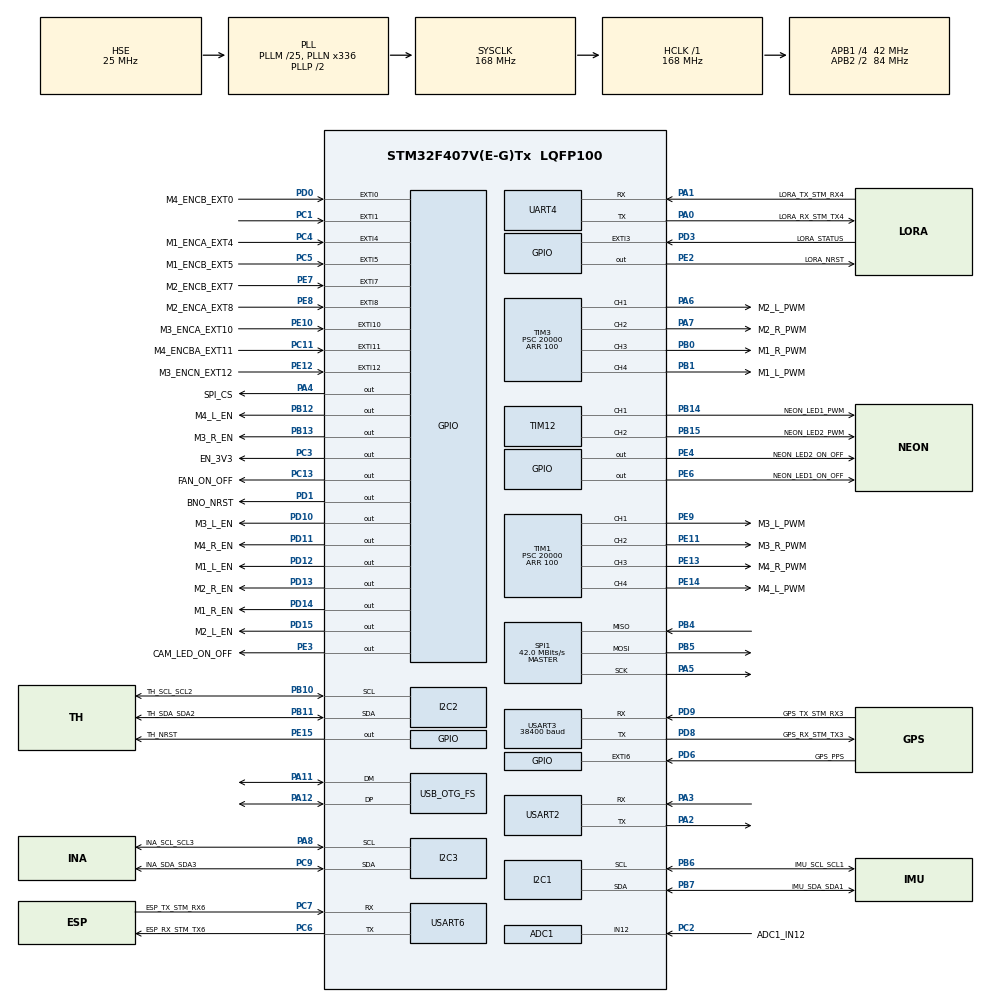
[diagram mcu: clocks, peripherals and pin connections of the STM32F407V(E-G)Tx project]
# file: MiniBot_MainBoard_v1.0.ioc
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ADC1.Channel-2\#ChannelRegularConversion=ADC_CHANNEL_12
ADC1.NbrOfConversionFlag=1
ADC1.Rank-2\#ChannelRegularConversion=1
ADC1.SamplingTime-2\#ChannelRegularConversion=ADC_SAMPLETIME_3CYCLES
ADC1.master=1
Dma.Request0=USART3_RX
Dma.USART3_RX.0.Direction=DMA_PERIPH_TO_MEMORY
Dma.USART3_RX.0.FIFOMode=DMA_FIFOMODE_DISABLE
Dma.USART3_RX.0.Instance=DMA1_Stream1
Dma.USART3_RX.0.MemDataAlignment=DMA_MDATAALIGN_BYTE
Dma.USART3_RX.0.MemInc=DMA_MINC_ENABLE
Dma.USART3_RX.0.Mode=DMA_NORMAL
Dma.USART3_RX.0.PeriphDataAlignment=DMA_PDATAALIGN_BYTE
Dma.USART3_RX.0.PeriphInc=DMA_PINC_DISABLE
Dma.USART3_RX.0.Priority=DMA_PRIORITY_LOW
Mcu.Family=STM32F4
Mcu.Name=STM32F407V(E-G)Tx
Mcu.Package=LQFP100
NVIC.DMA1_Stream1_IRQn=true\:0\:0\:false\:false\:true\:false\:true\:true
NVIC.EXTI0_IRQn=true\:0\:0\:false\:false\:true\:true\:true\:true
NVIC.EXTI15_10_IRQn=true\:0\:0\:false\:false\:true\:true\:true\:true
NVIC.EXTI3_IRQn=true\:0\:0\:false\:false\:true\:true\:true\:true
NVIC.EXTI4_IRQn=true\:0\:0\:false\:false\:true\:true\:true\:true
NVIC.EXTI9_5_IRQn=true\:0\:0\:false\:false\:true\:true\:true\:true
NVIC.OTG_FS_IRQn=true\:0\:0\:false\:false\:true\:false\:true\:true
NVIC.PriorityGroup=NVIC_PRIORITYGROUP_4
NVIC.TIM1_BRK_TIM9_IRQn=true\:0\:0\:false\:false\:true\:true\:true\:true
NVIC.TIM1_CC_IRQn=true\:0\:0\:false\:false\:true\:true\:true\:true
NVIC.TIM1_TRG_COM_TIM11_IRQn=true\:0\:0\:false\:false\:true\:true\:true\:true
NVIC.TIM1_UP_TIM10_IRQn=true\:0\:0\:false\:false\:true\:true\:true\:true
NVIC.TIM3_IRQn=true\:0\:0\:false\:false\:true\:true\:true\:true
NVIC.USART2_IRQn=true\:0\:0\:false\:false\:true\:true\:true\:true
NVIC.USART3_IRQn=true\:0\:0\:false\:false\:true\:true\:true\:true
PA0-WKUP.GPIO_Label=LORA_RX_STM_TX4
PA0-WKUP.Mode=Asynchronous
PA0-WKUP.Signal=UART4_TX
PA1.GPIO_Label=LORA_TX_STM_RX4
PA1.Mode=Asynchronous
PA1.Signal=UART4_RX
PA11.Mode=Device_Only
PA11.Signal=USB_OTG_FS_DM
PA12.Mode=Device_Only
PA12.Signal=USB_OTG_FS_DP
PA13.Mode=Serial_Wire
PA13.Signal=SYS_JTMS-SWDIO
PA14.Mode=Serial_Wire
PA14.Signal=SYS_JTCK-SWCLK
PA2.Mode=Asynchronous
PA2.Signal=USART2_TX
PA3.Mode=Asynchronous
PA3.Signal=USART2_RX
PA4.GPIO_Label=SPI_CS
PA4.Signal=GPIO_Output
PA5.Mode=Full_Duplex_Master
PA5.Signal=SPI1_SCK
PA6.GPIO_Label=M2_L_PWM
PA6.Signal=S_TIM3_CH1
PA7.GPIO_Label=M2_R_PWM
PA7.Signal=S_TIM3_CH2
PA8.GPIO_Label=INA_SCL_SCL3
PA8.Mode=I2C
PA8.Signal=I2C3_SCL
PB0.GPIO_Label=M1_R_PWM
PB0.Signal=S_TIM3_CH3
PB1.GPIO_Label=M1_L_PWM
PB1.Signal=S_TIM3_CH4
PB10.GPIO_Label=TH_SCL_SCL2
PB10.Mode=I2C
PB10.Signal=I2C2_SCL
PB11.GPIO_Label=TH_SDA_SDA2
PB11.Mode=I2C
PB11.Signal=I2C2_SDA
PB12.GPIO_Label=M4_L_EN
PB12.Signal=GPIO_Output
PB13.GPIO_Label=M3_R_EN
PB13.Signal=GPIO_Output
PB14.GPIO_Label=NEON_LED1_PWM
PB14.Signal=S_TIM12_CH1
PB15.GPIO_Label=NEON_LED2_PWM
PB15.Signal=S_TIM12_CH2
PB3.Signal=SYS_JTDO-SWO
PB4.Mode=Full_Duplex_Master
PB4.Signal=SPI1_MISO
PB5.Mode=Full_Duplex_Master
PB5.Signal=SPI1_MOSI
PB6.GPIO_Label=IMU_SCL_SCL1
PB6.Mode=I2C
PB6.Signal=I2C1_SCL
PB7.GPIO_Label=IMU_SDA_SDA1
PB7.Mode=I2C
PB7.Signal=I2C1_SDA
PC1.Signal=GPXTI1
PC11.GPIO_Label=M4_ENCBA_EXT11
PC11.GPIO_PuPd=GPIO_PULLDOWN
PC11.Signal=GPXTI11
PC13-ANTI_TAMP.GPIO_Label=FAN_ON_OFF
PC13-ANTI_TAMP.Signal=GPIO_Output
PC14-OSC32_IN.Mode=LSE-External-Oscillator
PC14-OSC32_IN.Signal=RCC_OSC32_IN
PC15-OSC32_OUT.Mode=LSE-External-Oscillator
PC15-OSC32_OUT.Signal=RCC_OSC32_OUT
PC2.GPIO_Label=ADC1_IN12
PC2.Signal=ADCx_IN12
PC3.GPIO_Label=EN_3V3
PC3.Signal=GPIO_Output
PC4.GPIO_Label=M1_ENCA_EXT4
PC4.GPIO_PuPd=GPIO_PULLDOWN
PC4.Signal=GPXTI4
PC5.GPIO_Label=M1_ENCB_EXT5
PC5.GPIO_PuPd=GPIO_PULLDOWN
PC5.Signal=GPXTI5
PC6.GPIO_Label=ESP_RX_STM_TX6
PC6.Mode=Asynchronous
PC6.Signal=USART6_TX
PC7.GPIO_Label=ESP_TX_STM_RX6
PC7.Mode=Asynchronous
PC7.Signal=USART6_RX
PC9.GPIO_Label=INA_SDA_SDA3
PC9.Mode=I2C
PC9.Signal=I2C3_SDA
PD0.GPIO_Label=M4_ENCB_EXT0
PD0.GPIO_PuPd=GPIO_PULLDOWN
PD0.Signal=GPXTI0
PD1.GPIO_Label=BNO_NRST
PD1.Signal=GPIO_Output
PD10.GPIO_Label=M3_L_EN
PD10.Signal=GPIO_Output
PD11.GPIO_Label=M4_R_EN
PD11.Signal=GPIO_Output
PD12.GPIO_Label=M1_L_EN
PD12.Signal=GPIO_Output
PD13.GPIO_Label=M2_R_EN
PD13.Signal=GPIO_Output
PD14.GPIO_Label=M1_R_EN
PD14.Signal=GPIO_Output
PD15.GPIO_Label=M2_L_EN
PD15.Signal=GPIO_Output
PD3.GPIO_Label=LORA_STATUS
PD3.Signal=GPXTI3
PD6.GPIO_Label=GPS_PPS
PD6.Signal=GPXTI6
PD8.GPIO_Label=GPS_RX_STM_TX3
PD8.Mode=Asynchronous
PD8.Signal=USART3_TX
PD9.GPIO_Label=GPS_TX_STM_RX3
PD9.Mode=Asynchronous
PD9.Signal=USART3_RX
PE10.GPIO_Label=M3_ENCA_EXT10
PE10.GPIO_PuPd=GPIO_PULLDOWN
PE10.Signal=GPXTI10
PE11.GPIO_Label=M3_R_PWM
PE11.Signal=S_TIM1_CH2
PE12.GPIO_Label=M3_ENCN_EXT12
PE12.GPIO_PuPd=GPIO_PULLDOWN
PE12.Signal=GPXTI12
PE13.GPIO_Label=M4_R_PWM
PE13.Signal=S_TIM1_CH3
PE14.GPIO_Label=M4_L_PWM
PE14.Signal=S_TIM1_CH4
PE15.GPIO_Label=TH_NRST
PE15.Signal=GPIO_Output
PE2.GPIO_Label=LORA_NRST
PE2.Signal=GPIO_Output
PE3.GPIO_Label=CAM_LED_ON_OFF
PE3.Signal=GPIO_Output
PE4.GPIO_Label=NEON_LED2_ON_OFF
PE4.Signal=GPIO_Output
PE6.GPIO_Label=NEON_LED1_ON_OFF
PE6.Signal=GPIO_Output
PE7.GPIO_Label=M2_ENCB_EXT7
PE7.GPIO_PuPd=GPIO_PULLDOWN
PE7.Signal=GPXTI7
PE8.GPIO_Label=M2_ENCA_EXT8
PE8.GPIO_PuPd=GPIO_PULLDOWN
PE8.Signal=GPXTI8
PE9.GPIO_Label=M3_L_PWM
PE9.Signal=S_TIM1_CH1
PH0-OSC_IN.Mode=HSE-External-Oscillator
PH0-OSC_IN.Signal=RCC_OSC_IN
PH1-OSC_OUT.Mode=HSE-External-Oscillator
PH1-OSC_OUT.Signal=RCC_OSC_OUT
ProjectManager.HeapSize=0x200
ProjectManager.StackSize=0x400
ProjectManager.TargetToolchain=STM32CubeIDE
RCC.48MHZClocksFreq_Value=48000000
RCC.AHBFreq_Value=168000000
RCC.APB1CLKDivider=RCC_HCLK_DIV4
RCC.APB1Freq_Value=42000000
RCC.APB1TimFreq_Value=84000000
RCC.APB2CLKDivider=RCC_HCLK_DIV2
RCC.APB2Freq_Value=84000000
RCC.APB2TimFreq_Value=168000000
RCC.CortexFreq_Value=168000000
RCC.HCLKFreq_Value=168000000
RCC.HSE_VALUE=25000000
RCC.HSI_VALUE=16000000
RCC.PLLM=25
RCC.PLLN=336
RCC.PLLQ=7
RCC.SYSCLKFreq_VALUE=168000000
RCC.SYSCLKSource=RCC_SYSCLKSOURCE_PLLCLK
RCC.VCOOutputFreq_Value=336000000
SH.ADCx_IN12.0=ADC1_IN12,IN12
SH.S_TIM12_CH1.0=TIM12_CH1,PWM Generation1 CH1
SH.S_TIM12_CH2.0=TIM12_CH2,PWM Generation2 CH2
SH.S_TIM1_CH1.0=TIM1_CH1,PWM Generation1 CH1
SH.S_TIM1_CH2.0=TIM1_CH2,PWM Generation2 CH2
SH.S_TIM1_CH3.0=TIM1_CH3,PWM Generation3 CH3
SH.S_TIM1_CH4.0=TIM1_CH4,PWM Generation4 CH4
SH.S_TIM3_CH1.0=TIM3_CH1,PWM Generation1 CH1
SH.S_TIM3_CH2.0=TIM3_CH2,PWM Generation2 CH2
SH.S_TIM3_CH3.0=TIM3_CH3,PWM Generation3 CH3
SH.S_TIM3_CH4.0=TIM3_CH4,PWM Generation4 CH4
SPI1.BaudRatePrescaler=SPI_BAUDRATEPRESCALER_2
SPI1.CalculateBaudRate=42.0 MBits/s
SPI1.Direction=SPI_DIRECTION_2LINES
SPI1.Mode=SPI_MODE_MASTER
SPI1.VirtualType=VM_MASTER
TIM1.Channel-PWM\ Generation1\ CH1=TIM_CHANNEL_1
TIM1.Channel-PWM\ Generation2\ CH2=TIM_CHANNEL_2
TIM1.Channel-PWM\ Generation3\ CH3=TIM_CHANNEL_3
TIM1.Channel-PWM\ Generation4\ CH4=TIM_CHANNEL_4
TIM1.Period=100
TIM1.Prescaler=20000
TIM12.Channel-PWM\ Generation1\ CH1=TIM_CHANNEL_1
TIM12.Channel-PWM\ Generation2\ CH2=TIM_CHANNEL_2
TIM3.Channel-PWM\ Generation1\ CH1=TIM_CHANNEL_1
TIM3.Channel-PWM\ Generation2\ CH2=TIM_CHANNEL_2
TIM3.Channel-PWM\ Generation3\ CH3=TIM_CHANNEL_3
TIM3.Channel-PWM\ Generation4\ CH4=TIM_CHANNEL_4
TIM3.Period=100
TIM3.Prescaler=20000
UART4.VirtualMode=Asynchronous
USART2.VirtualMode=VM_ASYNC
USART3.BaudRate=38400
USART3.VirtualMode=VM_ASYNC
USART6.VirtualMode=VM_ASYNC
USB_DEVICE.CLASS_NAME_FS=CDC
USB_DEVICE.VirtualMode-CDC_FS=Cdc
USB_DEVICE.VirtualModeFS=Cdc_FS
USB_OTG_FS.VirtualMode=Device_Only
VP_TIM1_VS_ClockSourceINT.Mode=Internal
VP_TIM3_VS_ClockSourceINT.Mode=Internal
VP_USB_DEVICE_VS_USB_DEVICE_CDC_FS.Mode=CDC_FS
board=custom

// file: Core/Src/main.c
/* USER CODE BEGIN Header */
/**
  ******************************************************************************
  * @file           : main.c
  * @brief          : Main program body
  ******************************************************************************
  * @attention
  *
  * Copyright (c) 2025 STMicroelectronics.
  * All rights reserved.
  *
  * This software is licensed under terms that can be found in the LICENSE file
  * in the root directory of this software component.
  * If no LICENSE file comes with this software, it is provided AS-IS.
  *
  ******************************************************************************
  */
/* USER CODE END Header */
#include "main.h"
#include "adc.h"
#include "dma.h"
#include "i2c.h"
#include "spi.h"
#include "tim.h"
#include "usart.h"
#include "usb_device.h"
#include "gpio.h"

/* USER CODE BEGIN Includes */
#include "stdio.h"
#include "math.h"
#include "string.h"
#include "stdarg.h"
#include "library/BNO055_STM32.h"
#include "library/gps.h"
#include "usbd_cdc_if.h"
#include "library/motorDriver.h"
#include "library/INA219.h"
#include "library/EEPROM.h"
#include "library/sps30.h"
#include "library/bme68x/bme68x.h"

/* USER CODE END Includes */

/* USER CODE BEGIN PM */
// Sensor Variables
// BME688 Variables
// struct bme68x_dev bme; // Handled by library
struct bme68x_data bme_data;
SPS30_Data_t sps_data;

// --- Sensor Frequencies (Hz) ---
uint32_t freq_gps_hz = 1;
uint32_t freq_air_hz = 1;
uint32_t freq_imu_hz = 10;
uint32_t freq_sps_hz = 1;

// --- Sensor Timers ---
uint32_t last_tick_gps = 0;
uint32_t last_tick_air = 0;
uint32_t last_tick_imu = 0;
uint32_t last_tick_sps = 0;

// --- BNO055 Data ---
BNO055_Sensors_t bno_data;
/* USER CODE END PM */

/* USER CODE BEGIN PV */

static uint8_t rx_buffer_main[1024];
static uint8_t tx_buffer_main[1024];

TIM_HandleTypeDef htim6; // Soft PWM Timer handle
volatile uint8_t cam_led_duty = 0; // 0 to 100
volatile uint8_t soft_pwm_cnt = 0; // 0 to 100

// --- Global Static Buffers for RX ---
static uint8_t rx_accum[2048];
static uint16_t rx_accum_head = 0;

void Process_Serial_Input(void); // Prototype

typedef enum {
    MODE_IDLE,
    MODE_ARMED,
    MODE_ARMED_PLUS,
    MODE_ECO
} RobotMode;

RobotMode current_mode = MODE_IDLE;
float speed_limit = 0.0f;
uint32_t last_telemetry_time = 0;

// Status Flags
int8_t status_imu = -1;
int8_t status_bme = -1;
int8_t status_sps = -1;
uint8_t status_ina = 0;
uint32_t last_status_time = 0;
uint8_t bno_calibration_flag = 0; // Set to 1 to run calibration mode

INA219_t ina219;

typedef struct {
    float voltage;
    float percent;
} BatteryCurvePoint;

const BatteryCurvePoint bat_curve[] = {
    {14.6f, 100.0f},
    {13.6f, 100.0f},
    {13.5f, 99.0f},
    {13.4f, 95.0f},
    {13.3f, 90.0f},
    {13.25f, 80.0f},
    {13.2f,  70.0f},
    {13.15f, 60.0f},
    {13.1f,  50.0f},
    {13.05f, 40.0f},
    {13.0f,  30.0f},
    {12.9f,  20.0f},
    {12.8f,  15.0f},
    {12.5f,  10.0f},
    {12.0f,  5.0f},
    {11.0f,  0.0f}
};

// Battery History for Peak Hold
#define BAT_HIST_SIZE 100
float bat_history[BAT_HIST_SIZE] = {0};
uint8_t bat_hist_idx = 0;
uint32_t last_bat_hist_time = 0;

float get_max_history() {
    float max_v = 0.0f;
    for(int i=0; i<BAT_HIST_SIZE; i++) {
        if(bat_history[i] > max_v) max_v = bat_history[i];
    }
    return max_v;
}

uint8_t get_battery_percentage(float voltage)
{
    // Check bounds
    if (voltage >= bat_curve[0].voltage) return (uint8_t)bat_curve[0].percent;
    int num_points = sizeof(bat_curve) / sizeof(bat_curve[0]);
    if (voltage <= bat_curve[num_points - 1].voltage) return (uint8_t)bat_curve[num_points - 1].percent;

    // Linear Interpolation
    for (int i = 0; i < num_points - 1; i++) {
        if (voltage <= bat_curve[i].voltage && voltage >= bat_curve[i+1].voltage) {
            float v_high = bat_curve[i].voltage;
            float v_low = bat_curve[i+1].voltage;
            float p_high = bat_curve[i].percent;
            float p_low = bat_curve[i+1].percent;

            float percent = p_low + (voltage - v_low) * (p_high - p_low) / (v_high - v_low);
            return (uint8_t)percent;
        }
    }
    return 0; // Should not reach here
}

/* USER CODE END PV */

void SystemClock_Config(void);
/* USER CODE BEGIN PFP */
void MX_TIM6_Init(void);
/* USER CODE END PFP */

/* USER CODE BEGIN 0 */

/**
  * @brief Retargets the C library printf function to the USART.
  * @note  Output is sent to UART2 (Standard ST-Link VCP).
  */
#ifdef __GNUC__
int _write(int file, char *ptr, int len) {
    HAL_UART_Transmit(&huart2, (uint8_t *)ptr, len, 100);
    return len;
}
#endif

/* USER CODE BEGIN PTD */
// Update the Struct to include Enable Pin info

/* USER CODE END PTD */

/* USER CODE BEGIN 0 */

/* USER CODE BEGIN 0 */

/* USER CODE END 0 */

void Process_Serial_Input(void)
{
    // 1. Process Incoming Data with Buffering
    int reads = 0;
    while (VCP_available() > 0 && reads < 5)
    {
        reads++;
        // Read new data into temp buffer
        uint16_t len = VCP_read_buffer(rx_buffer_main, 1024);

        if (rx_accum_head + len < 2048) {
            memcpy(&rx_accum[rx_accum_head], rx_buffer_main, len);
            rx_accum_head += len;
            rx_accum[rx_accum_head] = '\0'; // Safety null
        } else {
            // Buffer overflow protection: Clear and restart
            rx_accum_head = 0;
            printf("RX Overflow! Clearing buffer.\r\n");
        }

        // Process Complete Lines
        char* newline_ptr;
        while ((newline_ptr = strchr((char*)rx_accum, '\n')) != NULL)
        {
            // Temporarily terminate the line
            *newline_ptr = '\0';
            char* line = (char*)rx_accum;
            // printf("RX Line: %s\n", line); // Debug Print

            // --- PROCESS LINE START ---
            // Mode Switching
            if (strstr(line, "ARMED+")) {
                current_mode = MODE_ARMED_PLUS;
                speed_limit = 1.0f;
            }
            else if (strstr(line, "ARMED")) {
                current_mode = MODE_ARMED;
                speed_limit = 0.7f;
            }
            else if (strstr(line, "ECO")) {
                current_mode = MODE_ECO;
                speed_limit = 0.4f;
            }
            else if (strstr(line, "IDLE")) {
                current_mode = MODE_IDLE;
                speed_limit = 0.0f;
                // Force Stop
                Motor_Move(1, 1, 0, 1); Motor_Move(2, 1, 0, 1);
                Motor_Move(3, 1, 0, 1); Motor_Move(4, 1, 0, 1);
            }

            // Command Parsing (Only if NOT IDLE)
            if (current_mode != MODE_IDLE)
            {
                float v = 0.0f;
                float w = 0.0f;

                if (sscanf(line, "{v=%f, w=%f", &v, &w) == 2)
                {
                    // Apply Speed Limit
                    float scalar = 100.0f * speed_limit;

                    float v_scaled = v * scalar;
                    float w_scaled = w * scalar;

                    float left_speed = v_scaled - w_scaled;
                    float right_speed = v_scaled + w_scaled;

                    int dir_left = (left_speed >= 0) ? 1 : -1;
                    int dir_right = (right_speed >= 0) ? 1 : -1;

                    uint32_t pwm_left = (uint32_t)fabs(left_speed);
                    uint32_t pwm_right = (uint32_t)fabs(right_speed);

                    if (pwm_left > 100) pwm_left = 100;
                    if (pwm_right > 100) pwm_right = 100;

                    Motor_Move(1, -dir_left, pwm_left, 1);     // Left Rear
                    Motor_Move(4, -dir_left, pwm_left, 1);     // Front Left

                    Motor_Move(3, -dir_right, pwm_right, 1);   // Front Right
                    Motor_Move(2, dir_right, pwm_right, 1);    // Right Rear
                }
            }

            // Camera LED Control
            int cam_led_val = 0;
            if (sscanf(line, "cam_led %d", &cam_led_val) == 1 || sscanf(line, "cam_led:%d", &cam_led_val) == 1)
            {
                if (cam_led_val > 100) cam_led_val = 100;
                if (cam_led_val < 0) cam_led_val = 0;

                cam_led_duty = (uint8_t)cam_led_val;
            }
            // --- PROCESS LINE END ---

            // Remove processed line from buffer
            int line_len = (newline_ptr - (char*)rx_accum) + 1;
            int remaining = rx_accum_head - line_len;

            if (remaining > 0) {
                memmove(rx_accum, newline_ptr + 1, remaining);
            }
            rx_accum_head = remaining;
            rx_accum[rx_accum_head] = '\0';
        }
    }
}

int main(void)
{

  /* MCU Configuration--------------------------------------------------------*/

  /* Reset of all peripherals, Initializes the Flash interface and the Systick. */
  HAL_Init();

  /* Configure the system clock */
  SystemClock_Config();

  /* USER CODE BEGIN SysInit */
  // Soft disconnect for USB
  // Simulate cable unplug by pulling D+ (PA12) low
  // Using open-drain with pull-down is safer than push-pull
  GPIO_InitTypeDef GPIO_InitStruct = {0};
  __HAL_RCC_GPIOA_CLK_ENABLE();

  GPIO_InitStruct.Pin = GPIO_PIN_12;
  GPIO_InitStruct.Mode = GPIO_MODE_OUTPUT_OD;
  GPIO_InitStruct.Pull = GPIO_PULLDOWN;
  GPIO_InitStruct.Speed = GPIO_SPEED_FREQ_LOW;
  HAL_GPIO_Init(GPIOA, &GPIO_InitStruct);

  HAL_GPIO_WritePin(GPIOA, GPIO_PIN_12, GPIO_PIN_RESET);
  HAL_Delay(1000); // Wait 1 second for host to detect disconnect

  HAL_GPIO_DeInit(GPIOA, GPIO_PIN_12); // Release pin for USB IP
  /* USER CODE END SysInit */

  /* Initialize all configured peripherals */
  MX_GPIO_Init();
  MX_DMA_Init();
  MX_I2C1_Init();
  MX_I2C2_Init();
  MX_UART4_Init();
  MX_USART3_UART_Init();
  MX_ADC1_Init();
  MX_I2C3_Init();
  MX_SPI1_Init();
  MX_TIM1_Init();
  MX_TIM3_Init();
  MX_USART2_UART_Init();
  MX_USART6_UART_Init();
  MX_TIM12_Init();
  MX_USB_DEVICE_Init();
  /* USER CODE BEGIN 2 */
  /* USER CODE BEGIN 2 */

  // Optional: Start PWM timers just to have signal on pins,
  // even if we don't actively change them during test loop.
  // This generates a 0% or low signal on PWM pins depending on config.

  Motor_Init();

  HAL_TIM_Base_Start_IT(&htim6); // Start Soft PWM Timer

    HAL_UARTEx_ReceiveToIdle_DMA(&huart3, gps_dma_rx, sizeof(gps_dma_rx));

    printf("System Initializing...\r\n");

    // BNO055 (I2C3)
    printf("Initializing BNO055...\r\n");
    if (HAL_I2C_IsDeviceReady(&hi2c3, (0x28 << 1), 5, 100) == HAL_OK) {
        BNO055_Init_t bno_init = {
            .Unit_Sel     = UNIT_ORI_WINDOWS | UNIT_TEMP_CELCIUS | UNIT_EUL_DEG | UNIT_GYRO_DPS | UNIT_ACC_MS2,
            .Axis         = DEFAULT_AXIS_REMAP,
            .Axis_sign    = DEFAULT_AXIS_SIGN,
            .Mode         = BNO055_NORMAL_MODE,
            .OP_Modes     = NDOF,
            .Clock_Source = CLOCK_INTERNAL,
            .ACC_Range    = Range_4G,
        };
        BNO055_Init(bno_init);

        BNO055_Init(bno_init);

        uint8_t bno_offsets[22];

        // Calibration Routine Check
        if (bno_calibration_flag == 1) {
            printf("BNO055 Calibration Mode Enabled. Starting calibration sequence...\r\n");
            Calibrate_BNO055();
            printf("Calibration sequence completed.\r\n");

            // Get the new offsets and write to EEPROM
            getSensorOffsets(bno_offsets);
            EEPROM_Write(0, 0, bno_offsets, 22);
            printf("Calibration offsets written to EEPROM. Set bno_calibration_flag to 0 and reboot!\r\n");

            // Halt the system here so the user can reflash with flag 0
            while(1) {
                HAL_Delay(1000);
            }
        } else {
            // Read offsets from EEPROM and apply them
            EEPROM_Read(0, 0, bno_offsets, 22);

            // Basic sanity check: if the first few bytes are 0xFF (uninitialized EEPROM), warn the user
            if(bno_offsets[0] == 0xFF && bno_offsets[1] == 0xFF) {
                printf("WARNING: EEPROM offsets appear uninitialized. Please run Calibration Mode.\r\n");
            } else {
                setSensorOffsets(bno_offsets);
                printf("Loaded Calibration offsets from EEPROM.\r\n");
            }
        }

        status_imu = 0; // 0 is OK
        printf("BNO055 Init... OK\r\n");
    } else {
        printf("BNO055 Init... FAIL (Not Detected)\r\n");
        status_imu = -1;
    }

    printf("GPS: UART RX DMA Started\r\n");

    if(INA219_Init(&ina219, &hi2c3, INA219_ADDRESS))
    {
        printf("INA219: Connected\r\n");
        INA219_setCalibration_32V_2A(&ina219);
        status_ina = 1;
    }
    else
    {
        printf("INA219: Not Connected\r\n");
        status_ina = 0;

        // Debug: Check other likely addresses
        printf("Debugging INA219: Scanning common addresses...\r\n");
        for(uint16_t addr = 0x40; addr <= 0x4F; addr++) {
             if(HAL_I2C_IsDeviceReady(&hi2c3, addr << 1, 3, 100) == HAL_OK) {
                  printf("Potential Sensor found at 0x%02X! (Try changing INA219_ADDRESS)\r\n", addr);
             }
        }
    }

    // I2C Scanner removed intentionally to prevent BNO055 and BME688 zero-byte write crashes.

    /* --- BME688 & SPS30 Initialization --- */
    /* --- BME688 & SPS30 Initialization --- */
    printf("Initializing BME688 (New Lib)...\r\n");
    int8_t rslt = bme68x_start(&bme_data, &hi2c3);

    if(rslt == 0) // 0 is Success in BME68X API
    {
        printf("BME688 Initialized.\r\n");
        status_bme = 1;
    }
    else
    {
        printf("BME688 Init Failed: %d\r\n", rslt);
        status_bme = 0;
    }

    printf("Initializing SPS30...\r\n");
    SPS30_WakeUp(&hi2c3); // Wake up the module first because it often starts asleep and NACKs everything
    HAL_Delay(100);
    if(SPS30_Init(&hi2c3) == HAL_OK)
    {
        printf("SPS30 Initialized.\r\n");
        SPS30_StartMeasurement(&hi2c3);
        status_sps = 1;
        HAL_Delay(100);
    }
    else
    {
        printf("SPS30 Init Failed.\r\n");
        status_sps = 0;
    }

  /* USER CODE END 2 */

  /* Infinite loop */
  /* USER CODE BEGIN WHILE */

  // --- Background Sensor Polling Variables ---
  uint32_t last_sps_poll_time = 0;
  uint32_t last_bme_poll_time = 0;
  uint8_t bme_waiting_data = 0;
  uint32_t bme_wait_ms = 0;

  // Battery Filter Variables
  float filt_bat_v = 0.0f;
  const float alpha_bat = 0.02f; // Very slow filter for battery (50 taps equiv)
  uint8_t first_bat_read = 1;

  uint32_t last_gps_ver = 0;

  while (1)
  {
    Process_Serial_Input();

    // --- GPS Data Publishing Loop (Event-Driven) ---
    if (gps_version != last_gps_ver) {
        last_gps_ver = gps_version;
        uint16_t size = 0;
        uint8_t* data = get_gps_data(&gps_ring, &size);
        if (size > 0) {
            if (size < 512) {
                data[size] = '\0';
            } else {
                data[511] = '\0';
            }

            if (VCP_is_tx_busy() == 0) {
                CDC_Transmit_FS(data, size);
            }
        }
    }

    // --- BNO055 ---
    if (freq_imu_hz > 0 && (HAL_GetTick() - last_tick_imu >= (1000 / freq_imu_hz)))
    {
        if (status_imu == 0) {
            ReadData(&bno_data,
                     SENSOR_ACCEL | SENSOR_GYRO | SENSOR_MAG |
                     SENSOR_EULER | SENSOR_LINACC | SENSOR_GRAVITY | SENSOR_QUATERNION);
        }

        char buf[512];
        int len = snprintf(buf, sizeof(buf),
            "{\"imu\":{"
            "\"accel\":{\"x\":%.2f,\"y\":%.2f,\"z\":%.2f},"
            "\"gyro\":{\"x\":%.2f,\"y\":%.2f,\"z\":%.2f},"
            "\"mag\":{\"x\":%.2f,\"y\":%.2f,\"z\":%.2f},"
            "\"euler\":{\"heading\":%.2f,\"roll\":%.2f,\"pitch\":%.2f},"
            "\"linacc\":{\"x\":%.2f,\"y\":%.2f,\"z\":%.2f},"
            "\"gravity\":{\"x\":%.2f,\"y\":%.2f,\"z\":%.2f},"
            "\"quat\":{\"w\":%.4f,\"x\":%.4f,\"y\":%.4f,\"z\":%.4f}"
            "}}\n",
            bno_data.Accel.X,     bno_data.Accel.Y,     bno_data.Accel.Z,
            bno_data.Gyro.X,      bno_data.Gyro.Y,      bno_data.Gyro.Z,
            bno_data.Magneto.X,   bno_data.Magneto.Y,   bno_data.Magneto.Z,
            bno_data.Euler.X,     bno_data.Euler.Y,     bno_data.Euler.Z,
            bno_data.LineerAcc.X, bno_data.LineerAcc.Y, bno_data.LineerAcc.Z,
            bno_data.Gravity.X,   bno_data.Gravity.Y,   bno_data.Gravity.Z,
            bno_data.Quaternion.W, bno_data.Quaternion.X,
            bno_data.Quaternion.Y, bno_data.Quaternion.Z);

        if (len > 0 && VCP_is_tx_busy() == 0) {
            CDC_Transmit_FS((uint8_t*)buf, len);
            last_tick_imu = HAL_GetTick();
        }
    }

    // --- Background Polling Loop for SPS30 (10Hz) ---
    if (HAL_GetTick() - last_sps_poll_time >= 100)
    {
        last_sps_poll_time = HAL_GetTick();
        if (status_sps == 1) {
            if (SPS30_ReadDataReady(&hi2c3)) {
                SPS30_ReadMeasurement(&hi2c3, &sps_data);
            }
        }
    }

    // --- Background Polling Loop for BME688 (1/3 Hz) ---
    if (status_bme == 1) {
        if (!bme_waiting_data && (HAL_GetTick() - last_bme_poll_time >= 3000))
        {
            last_bme_poll_time = HAL_GetTick();
            bme68x_trigger_measure();
            bme_wait_ms = bme68x_get_delay_ms();
            bme_waiting_data = 1;
        }
        else if (bme_waiting_data && (HAL_GetTick() - last_bme_poll_time >= bme_wait_ms))
        {
            bme68x_read_measure(&bme_data);
            bme_waiting_data = 0;
        }
    }

    // --- SPS30 Publishing ---
    if (freq_sps_hz > 0 && (HAL_GetTick() - last_tick_sps >= (1000 / freq_sps_hz)))
    {
        float pm1 = 0, pm25 = 0, pm4 = 0, pm10 = 0;

        if (status_sps == 1) {
            pm1 = sps_data.mass_1p0;
            pm25 = sps_data.mass_2p5;
            pm4 = sps_data.mass_4p0;
            pm10 = sps_data.mass_10p0;
        }

        char buf[256];
        int len = snprintf(buf, sizeof(buf),
            "{\"sps\":{\"pm1.0\":%.2f,\"pm2.5\":%.2f,\"pm4.0\":%.2f,\"pm10\":%.2f}}\n",
            pm1, pm25, pm4, pm10);
        if (len > 0 && VCP_is_tx_busy() == 0) {
            CDC_Transmit_FS((uint8_t*)buf, len);
            last_tick_sps = HAL_GetTick();
        }
    }

    // --- BME688 Publishing ---
    if (freq_air_hz > 0 && (HAL_GetTick() - last_tick_air >= (1000 / freq_air_hz)))
    {
        float iaq = 0, temp = 0, hum = 0;

        if (status_bme == 1) {
            iaq = bme68x_iaq();
            temp = bme_data.temperature;
            hum = bme_data.humidity;
        }

        char buf[128];
        int len = snprintf(buf, sizeof(buf), "{\"air\":{\"iaq\":%.2f,\"temp\":%.2f,\"hum\":%.2f}}\n",
                           iaq, temp, hum);
        if (len > 0 && VCP_is_tx_busy() == 0) {
             CDC_Transmit_FS((uint8_t*)buf, len);
             last_tick_air = HAL_GetTick();
        }
    }

    // --- Battery & Status Telemetry (Sent in ALL modes) ---
    if (HAL_GetTick() - last_telemetry_time >= 2000) // 0.5Hz
    {
        if (VCP_is_tx_busy() == 0) {
            char telemetry[512];

            // Read INA if connected
            float bus_voltage_V = 0.0f;
            int16_t current_mA = 0;
            if (status_ina == 1) {
                bus_voltage_V = INA219_ReadBusVoltage(&ina219) / 1000.0f;
                current_mA = INA219_ReadCurrent(&ina219);
            }

            if (current_mA < 0) current_mA = -current_mA;

            // --- Battery Filtering ---
            if (first_bat_read) {
                filt_bat_v = bus_voltage_V;
                first_bat_read = 0;
            } else {
                if (bus_voltage_V < 1.0f) {
                    filt_bat_v = bus_voltage_V;
                }
                else if (current_mA < 300) {
                    filt_bat_v = (alpha_bat * bus_voltage_V) + ((1.0f - alpha_bat) * filt_bat_v);
                }
            }

            // --- 100s Peak Hold Logic ---
            if (HAL_GetTick() - last_bat_hist_time >= 1000) {
                bat_history[bat_hist_idx] = filt_bat_v;
                bat_hist_idx = (bat_hist_idx + 1) % BAT_HIST_SIZE;
                last_bat_hist_time = HAL_GetTick();
            }

            if (bat_history[0] == 0.0f && filt_bat_v > 5.0f) {
                    for(int i=0; i<BAT_HIST_SIZE; i++) bat_history[i] = filt_bat_v;
            }

            float peak_bat_v = get_max_history();
            uint8_t bat_pct = get_battery_percentage(peak_bat_v);

            // Determine Mode String
            const char* mode_str = "IDLE";
            if (current_mode == MODE_ARMED) mode_str = "ARMED";
            else if (current_mode == MODE_ARMED_PLUS) mode_str = "ARMED+";
            else if (current_mode == MODE_ECO) mode_str = "ECO";

            sprintf(telemetry, "{\"status\":{\"mode\":\"%s\", \"bat_v\":%.2f, \"bat_pct\":%d, \"imu\":%d, \"bme\":%d, \"sps\":%d, \"ina\":%d}}\n",
                    mode_str, bus_voltage_V, bat_pct, (status_imu==0?1:0), status_bme, status_sps, status_ina);

            CDC_Transmit_FS((uint8_t*)telemetry, strlen(telemetry));
            last_telemetry_time = HAL_GetTick();
        }
    }
    /* USER CODE END WHILE */

  }
}

void SystemClock_Config(void)
{
  RCC_OscInitTypeDef RCC_OscInitStruct = {0};
  RCC_ClkInitTypeDef RCC_ClkInitStruct = {0};

  /** Configure the main internal regulator output voltage
  */
  __HAL_RCC_PWR_CLK_ENABLE();
  __HAL_PWR_VOLTAGESCALING_CONFIG(PWR_REGULATOR_VOLTAGE_SCALE1);

  /** Initializes the RCC Oscillators according to the specified parameters
  * in the RCC_OscInitTypeDef structure.
  */
  RCC_OscInitStruct.OscillatorType = RCC_OSCILLATORTYPE_HSE;
  RCC_OscInitStruct.HSEState = RCC_HSE_ON;
  RCC_OscInitStruct.PLL.PLLState = RCC_PLL_ON;
  RCC_OscInitStruct.PLL.PLLSource = RCC_PLLSOURCE_HSE;
  RCC_OscInitStruct.PLL.PLLM = 25;
  RCC_OscInitStruct.PLL.PLLN = 336;
  RCC_OscInitStruct.PLL.PLLP = RCC_PLLP_DIV2;
  RCC_OscInitStruct.PLL.PLLQ = 7;
  if (HAL_RCC_OscConfig(&RCC_OscInitStruct) != HAL_OK)
  {
    Error_Handler();
  }

  /** Initializes the CPU, AHB and APB buses clocks
  */
  RCC_ClkInitStruct.ClockType = RCC_CLOCKTYPE_HCLK|RCC_CLOCKTYPE_SYSCLK
                              |RCC_CLOCKTYPE_PCLK1|RCC_CLOCKTYPE_PCLK2;
  RCC_ClkInitStruct.SYSCLKSource = RCC_SYSCLKSOURCE_PLLCLK;
  RCC_ClkInitStruct.AHBCLKDivider = RCC_SYSCLK_DIV1;
  RCC_ClkInitStruct.APB1CLKDivider = RCC_HCLK_DIV4;
  RCC_ClkInitStruct.APB2CLKDivider = RCC_HCLK_DIV2;

  if (HAL_RCC_ClockConfig(&RCC_ClkInitStruct, FLASH_LATENCY_5) != HAL_OK)
  {
    Error_Handler();
  }
}

/* USER CODE BEGIN 4 */

void HAL_GPIO_EXTI_Callback(uint16_t GPIO_Pin)
{
    // Simple software debounce to prevent "bouncing" contacts from spamming the UART
    // It ignores interrupts that happen within 50ms of the last one.

}

void HAL_TIM_PeriodElapsedCallback(TIM_HandleTypeDef *htim)
{
  if (htim->Instance == TIM6)
  {
      soft_pwm_cnt++;
      if (soft_pwm_cnt >= 100) soft_pwm_cnt = 0;

      if (soft_pwm_cnt < cam_led_duty)
      {
          // ON
          HAL_GPIO_WritePin(CAM_LED_ON_OFF_GPIO_Port, CAM_LED_ON_OFF_Pin, GPIO_PIN_SET);
      }
      else
      {
          // OFF
          HAL_GPIO_WritePin(CAM_LED_ON_OFF_GPIO_Port, CAM_LED_ON_OFF_Pin, GPIO_PIN_RESET);
      }
  }
}

/* USER CODE END 4 */

void Error_Handler(void)
{
	__disable_irq();
	while (1)
	{
	}
}
